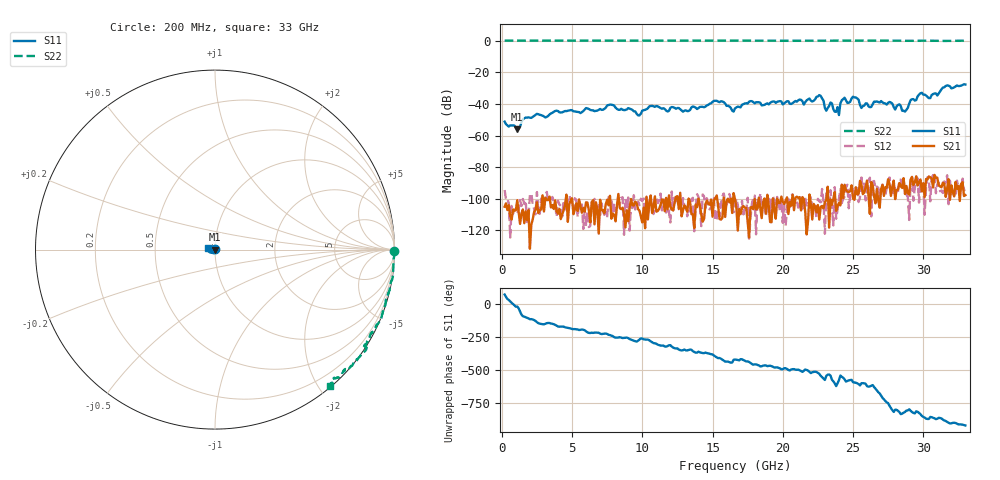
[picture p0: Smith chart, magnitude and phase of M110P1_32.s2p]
# GHZ S RI R 50
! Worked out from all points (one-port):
!   329 points, 200 MHz to 33 GHz, reference 50 ohm
!   lowest |S11| = -56.0 dB at 1.1 GHz (marker M1), VSWR 1.00, Z = 50.2 - j0.0503 ohm
!   |S11| at or under -10 dB: start of sweep to end of sweep
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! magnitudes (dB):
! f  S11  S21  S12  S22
! 200 MHz  -51.2  -105.0  -94.4  0.0
! 1.1 GHz  -56.0  -100.9  -108.8  0.0
! 2.5 GHz  -46.3  -102.1  -95.7  0.0
! 5.7 GHz  -45.3  -108.8  -103.6  0.0
! 9.8 GHz  -47.3  -107.4  -104.0  0.0
! 11.2 GHz  -42.1  -106.3  -101.1  0.0
! 12.9 GHz  -44.9  -107.2  -99.5  0.0
! 15.2 GHz  -38.0  -99.4  -113.9  0.0
! 16.6 GHz  -42.8  -100.2  -104.9  0.0
! 22.1 GHz  -38.5  -113.0  -105.8  -0.1
! 22.6 GHz  -34.5  -113.1  -101.6  -0.1
! 23.1 GHz  -44.3  -100.7  -96.6  0.0
! 23.4 GHz  -39.1  -100.4  -94.5  -0.1
! 24 GHz  -47.1  -102.6  -99.9  0.1
! 24.1 GHz  -39.7  -104.2  -93.9  0.1
! 24.4 GHz  -36.1  -91.1  -98.7  0.0
! 25.2 GHz  -36.0  -92.7  -92.9  0.0
! 25.6 GHz  -42.6  -91.2  -86.5  0.0
! 27.6 GHz  -38.8  -90.6  -86.5  0.0
! 28.7 GHz  -44.9  -96.9  -95.5  -0.1
! 29.8 GHz  -33.3  -87.7  -90.1  -0.1
! 33 GHz  -27.7  -97.7  -94.3  -0.1
